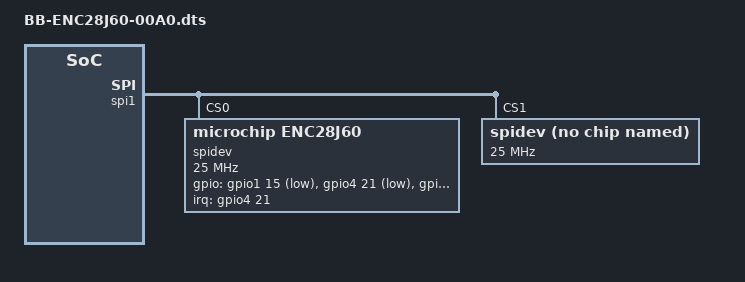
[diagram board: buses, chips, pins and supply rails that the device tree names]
/dts-v1/;
/plugin/;

/ {
compatible = "ti,beaglebone", "ti,beaglebone-black";

/* identification */
part-number = "BB-ENC28J60";

/* version */
version = "00A0";

/* state the resources this cape uses */
exclusive-use =
  /* the pin header uses */
  "P9.24", /* gpio0[15] */
  "P9.25", /* gpio3[21] */
  "P9.26", /* gpio0[14] */
  "P9.27", /* gpio3[19] */
  "P9.28",
  "P9.29",
  "P9.30",
  "P9.31",
  "spi1";

fragment@0 {
  target = <&am33xx_pinmux>;
  __overlay__ {
    pinctrl_spi1: pinctrl_spi1_pins {
    pinctrl-single,pins = <                                        
      0x184 0x37  /* P9_24 RST       | IN_PULLUP     | MODE7 */
      0x1ac 0x37  /* P9_25 INT       | IN_PULLUP     | MODE7 */
      0x180 0x37  /* P9_26 WOL       | IN_PULLUP     | MODE7 */
      0x1a4 0x37  /* P9_27 CLKOUT    | IN_PULLUP     | MODE7 */
      0x19c 0x13  /* P9_28 SPI1_CS   | OUTPUT_PULLUP | MODE3 */
      0x194 0x33  /* P9_29 SPI1_D0   | INPUT_PULLUP  | MODE3 */
      0x198 0x13  /* P9_30 SPI1_D1   | OUTPUT_PULLUP | MODE3 */
      0x190 0x3B  /* P9_31 SPI1_SCLK | INPUT_PULLUP  | MODE3 */
      >;
    };
  };
};

fragment@1 {
  target = <&spi1>;
     __overlay__ {
       #address-cells       = <1>;
       #size-cells          = <0>;
       status               = "okay";
       pinctrl-names        = "default";
       pinctrl-0            = <&pinctrl_spi1>;    

       spidev@0{
         compatible         = "microchip,enc28j60";
         reg                = <0>;

	 /* See the documentation for the gpio interrupt-controller defined in
         * the am33xx.dtsi for numbering and parameter interpretations
         * (https://www.kernel.org/doc/Documentation/devicetree/bindings/gpio/gpio-omap.txt)
         */
         interrupt-parent   = <&gpio4>;
         interrupts         = <21 10>;

         spi-max-frequency  = <25000000>;
         gpios              = <&gpio1 15 1
                               &gpio4 21 1
                               &gpio1 14 1
                               &gpio4 19 0>;
       };
       spidev@1{
         compatible         = "spidev";
         reg                = <1>;
         spi-max-frequency  = <25000000>;
       };            
    };
  };
};
